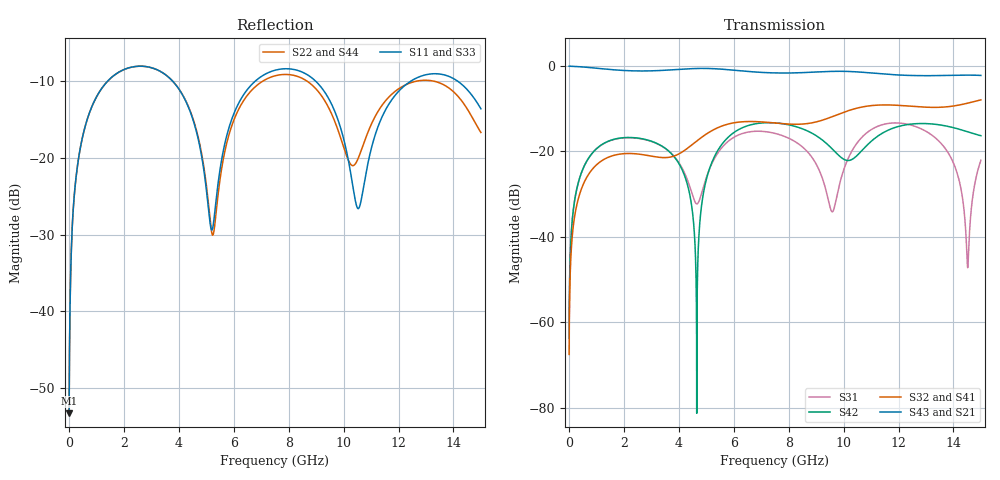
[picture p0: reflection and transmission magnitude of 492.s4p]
! Created with skrf 1.8.0 (http://scikit-rf.org).
# GHz S RI R 50.0
!freq ReS11 ImS11 ReS12 ImS12 ReS13 ImS13
! ReS14 ImS14
! ReS21 ImS21 ReS22 ImS22 ReS23 ImS23
! ReS24 ImS24
! ReS31 ImS31 ReS32 ImS32 ReS33 ImS33
! ReS34 ImS34
! ReS41 ImS41 ReS42 ImS42 ReS43 ImS43
! ReS44 ImS44
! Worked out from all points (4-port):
!   2499 points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, 5 MHz to 15 GHz, reference 50 ohm
!   strongest paths, dB at 5 MHz, 3.476 GHz, 7.19 GHz, 11.1 GHz, 15 GHz:
!     S43: 0.0, -1.0, -1.5, -1.7, -2.2
!     S21: 0.0, -1.0, -1.5, -1.7, -2.2
!     S32: -67.5, -21.4, -13.2, -9.2, -7.9
!     S41: -67.5, -21.5, -13.2, -9.2, -7.9
!     S42: -63.7, -19.1, -13.3, -17.1, -16.3
!     S31: -63.7, -19.1, -15.4, -14.5, -22.1
!   lowest |S11| = -53.3 dB at 5 MHz (marker M1), VSWR 1.00, Z = 50.2 + j0.132 ohm
!   |S11| at or under -10 dB: start of sweep to 1.398 GHz; 3.784 GHz to 6.771 GHz (2.987 GHz wide, 56.6 % of centre); 8.993 GHz to 12.43 GHz (3.438 GHz wide, 32.1 % of centre)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
0.005  0.00172 0.00131  0.9982 -0.00335  8.55e-05 0.000647  -8.33e-05 -0.000412
       0.9982 -0.00335  0.00172 0.00131  -8.33e-05 -0.000412  8.55e-05 0.000647
       8.55e-05 0.000647  -8.33e-05 -0.000412  0.00172 0.00131  0.9982 -0.00335
       -8.33e-05 -0.000412  8.55e-05 0.000647  0.9982 -0.00335  0.00172 0.00131
1.519383  0.2812 0.1769  0.5294 -0.7418  0.1226 0.0555  -0.0876 -0.00349
          0.5294 -0.7418  0.2805 0.1775  -0.0877 -0.00344  0.1243 0.0532
          0.1226 0.0555  -0.0877 -0.00344  0.2812 0.1769  0.5294 -0.7418
          -0.0876 -0.00349  0.1243 0.0532  0.5294 -0.7418  0.2805 0.1774
4.646818  0.0756 -0.1266  -0.8551 -0.3847  -0.0226 -0.00917  -0.0506 0.1221
          -0.8551 -0.3847  0.0763 -0.1298  -0.0501 0.1223  0.000109 -0.000738
          -0.0226 -0.00917  -0.0501 0.1223  0.0749 -0.1266  -0.8551 -0.3848
          -0.0506 0.1221  0.000109 -0.000738  -0.8551 -0.3848  0.0768 -0.1293
5.946228  0.1207 0.1377  -0.8275 0.3513  0.0685 0.1251  0.1111 0.1836
          -0.8275 0.3513  0.1056 0.128  0.1119 0.1835  0.1276 0.0989
          0.0685 0.1251  0.1119 0.1835  0.1193 0.1383  -0.8276 0.3511
          0.1111 0.1836  0.1276 0.0989  -0.8276 0.3511  0.107 0.1276
10.48562  0.0456 -0.0152  0.8499 0.1002  0.0454 0.1165  0.0313 -0.3202
          0.8499 0.1002  0.0925 0.0238  0.0284 -0.3204  -0.0401 0.0799
          0.0454 0.1165  0.0284 -0.3204  0.0463 -0.0161  0.8499 0.1015
          0.0313 -0.3202  -0.0401 0.0799  0.8499 0.1015  0.0914 0.0231
14.51855  0.2333 -0.1504  -0.4583 -0.6347  0.00396 0.00179  -0.2942 0.2202
          -0.4583 -0.6347  0.1903 -0.0819  -0.2911 0.2252  -0.094 -0.1415
          0.00396 0.00179  -0.2911 0.2252  0.2314 -0.1436  -0.4585 -0.6365
          -0.2942 0.2202  -0.094 -0.1415  -0.4585 -0.6365  0.1827 -0.0828
15  0.1622 -0.1329  -0.6208 -0.4667  -0.00643 0.0787  -0.2467 0.3178
    -0.6208 -0.4667  0.1427 -0.0353  -0.2418 0.3216  -0.1457 -0.047
    -0.00643 0.0787  -0.2418 0.3216  0.1623 -0.1264  -0.6212 -0.4681
    -0.2467 0.3178  -0.1457 -0.047  -0.6212 -0.4681  0.1346 -0.0338
